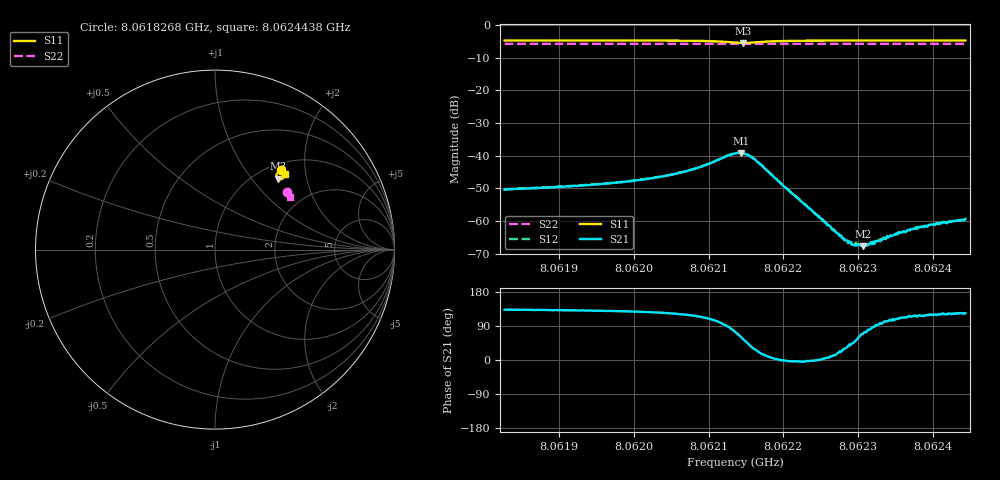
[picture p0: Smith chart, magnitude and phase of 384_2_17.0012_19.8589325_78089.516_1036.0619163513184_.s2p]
#  HZ  S  RI  R  50.00
! Rohde & Schwarz Vector Network Analyzer
! Rohde-Schwarz,ZNB20-2Port,1311601062101988,3.16
! Created: UTC 3/20/2024, 11:09:16 PM
! freq[Hz]  re:S11  im:S11  re:S21  im:S21  re:S12  im:S12  re:S22  im:S22
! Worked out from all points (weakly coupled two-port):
!   401 points, 8.0618268 GHz to 8.0624438 GHz, reference 50 ohm
!   highest |S21| = -39.12 dB at 8.062143 GHz (marker M1); lowest = -67.6 dB at 8.0623065 GHz (marker M2)
!   lowest |S11| = -5.5 dB at 8.0621461 GHz (marker M3), VSWR 3.25, Z = 62.2 + j68.5 ohm
!   |S11| at or under -10 dB: nowhere
!   |S22| runs from -5.9 to -5.8 dB; largest |S21 - S12| = 0.00074
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8.06182685e9  0.366 0.4449  -0.00206 0.00223  -0.00193 0.00237  0.3985 0.3222
8.06193019e9  0.3731 0.4385  -0.00229 0.00266  -0.00213 0.00285  0.4025 0.317
8.06197954e9  0.3769 0.4345  -0.00248 0.00306  -0.00231 0.00322  0.4044 0.3145
8.06203353e9  0.3814 0.4287  -0.00272 0.00386  -0.00248 0.00408  0.4064 0.3116
8.0620798e9  0.3855 0.4191  -0.00284 0.00555  -0.00252 0.00573  0.408 0.309
8.06213533e9  0.3655 0.3918  0.00295 0.0103  0.00348 0.0103  0.4086 0.3053
8.06214304e9  0.3545 0.3936  0.00525 0.00973  0.00587 0.00944  0.4084 0.3052
8.06214612e9  0.3506 0.3961  0.00613 0.00895  0.0067 0.00862  0.4083 0.3053
8.06215383e9  0.3435 0.4054  0.00754 0.00659  0.00817 0.00625  0.4084 0.3054
8.06216155e9  0.3419 0.4157  0.00784 0.00416  0.00803 0.00377  0.4088 0.3055
8.06218623e9  0.3541 0.4332  0.00486 0.000393  0.00493 0.000107  0.4104 0.3051
8.06223867e9  0.372 0.4347  0.00144 -4.85e-05  0.0014 -0.000142  0.413 0.3022
8.06226797e9  0.377 0.4328  0.000704 0.000159  0.000741 0.000117  0.4142 0.3007
8.0622834e9  0.379 0.4317  0.000437 0.000261  0.000457 0.000199  0.4146 0.2999
8.06229419e9  0.3803 0.431  0.000302 0.000309  0.000314 0.000317  0.4152 0.2993
8.06230653e9  0.3817 0.4302  0.000152 0.000387  0.000191 0.000387  0.4156 0.2986
8.06231887e9  0.3828 0.4293  3.67e-05 0.000453  3.43e-05 0.00044  0.4161 0.298
8.06234201e9  0.3849 0.4279  -0.000154 0.00056  -0.00013 0.00057  0.417 0.2968
8.06235435e9  0.386 0.4271  -0.000233 0.000632  -0.00022 0.000646  0.4173 0.2962
8.06238057e9  0.388 0.4257  -0.00036 0.000718  -0.00033 0.000755  0.4181 0.2947
8.06241296e9  0.3905 0.4237  -0.000506 0.000785  -0.000455 0.000831  0.4195 0.2931
8.06244381e9  0.3926 0.4221  -0.000594 0.000907  -0.00053 0.000929  0.4204 0.2914
